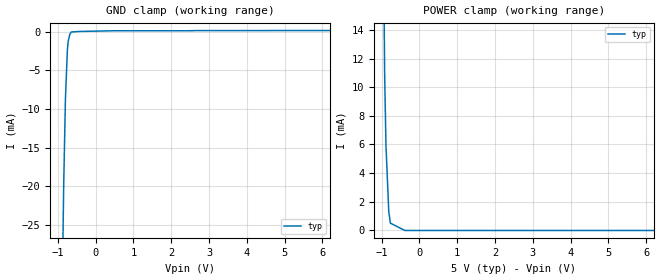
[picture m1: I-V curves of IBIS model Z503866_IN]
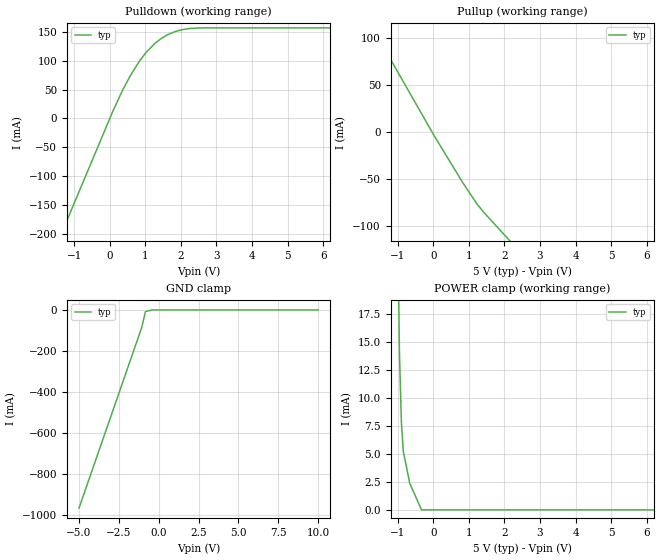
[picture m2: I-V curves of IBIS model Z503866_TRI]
| YOU ARE ONLY AUTHORIZED TO USE THIS SOFTWARE
| ACCORDING TO LICENSOR'S LICENSE RESTRICTIONS.
[IBIS Ver] 3.1
[File Name] mc74act534n.ibs
[File Rev] 2.0
[Source] Measured and created by ICX Technology
[Date] Friday 7/14/00 9:08:02 AM
[Copyright]
| (C) COPYRIGHT 1993-2000
| MENTOR GRAPHICS CORPORATION
| ICX STANDARD LIBRARY, ICX PROJECT MODELING,
| ICX CUSTOM MODELING, ICX VENDOR MODEL
| ALL RIGHTS RESERVED.
| THE FOLLOWING ARE TRADEMARKS OR SERVICE MARKS OF
| MENTOR GRAPHICS CORPORATION:ICX (R), ICX STANDARD
| LIBRARY(R), ICX PROJECT MODELING(R), ICX CUSTOM
| MODELING(R), qualityIBIS(TM), MODELVIEWER(TM),
| AND MODELEDITOR(TM)
| ALL COPIES OF SOFTWARE, INCLUDING BUT NOT LIMITED TO
| ANY MODIFICATIONS, ENHANCEMENTS OR DERIVATIVE WORKS,
| MUST CONTAIN ALL MENTOR GRAPHICS CORPORATION'S
| NOTICES AND LEGENDS, INCLUDING THOSE EMBEDDED IN
| SOFTWARE AND THOSE AFFIXED TO SOFTWARE MEDIUM
| AND CONTAINER, AS RECEIVED FROM MENTOR GRAPHICS
| CORPORATION.
|  ZAP Model Builder 2.7
[Component] MC74ACT534N
[Manufacturer] OnSemiconductor
[Package]
| variable   typ   min   max
R_pkg  .216ohms NA NA
L_pkg  5.76nH NA NA
C_pkg  1.29pF NA NA
[Pin] signal_name  model_name  R_pin  L_pin C_pin
1 _OE Z503866_IN .232 9.76n 1.87p
2 _Q0 Z503866_TRI .224 7.26n 1.58p
3 D0 Z503866_IN .216 5.26n 1.29p
4 D1 Z503866_IN .208 3.76n 1.0p
5 _Q1 Z503866_TRI .2 2.76n .71p
6 _Q2 Z503866_TRI .2 2.76n .71p
7 D2 Z503866_IN .208 3.76n 1.0p
8 D3 Z503866_IN .216 5.26n 1.29p
9 _Q3 Z503866_TRI .224 7.26n 1.58p
10 GND GND .232 9.76n 1.87p
11 CLK Z503866_IN .232 9.76n 1.87p
12 _Q4 Z503866_TRI .224 7.26n 1.58p
13 D4 Z503866_IN .216 5.26n 1.29p
14 D5 Z503866_IN .208 3.76n 1.0p
15 _Q5 Z503866_TRI .2 2.76n .71p
16 _Q6 Z503866_TRI .2 2.76n .71p
17 D6 Z503866_IN .208 3.76n 1.0p
18 D7 Z503866_IN .216 5.26n 1.29p
19 _Q7 Z503866_TRI .224 7.26n 1.58p
20 VCC POWER .232 9.76n 1.87p
| Models and submodels in the file (2): Z503866_IN (Input), Z503866_TRI (3-state)
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| (C) COPYRIGHT 1993-2000
| MENTOR GRAPHICS CORPORATION
| ICX STANDARD LIBRARY, ICX PROJECT MODELING,
| ICX CUSTOM MODELING, ICX VENDOR MODEL
| ALL RIGHTS RESERVED.
| THE FOLLOWING ARE TRADEMARKS OR SERVICE MARKS OF
| MENTOR GRAPHICS CORPORATION:ICX (R), ICX STANDARD
| LIBRARY(R), ICX PROJECT MODELING(R), ICX CUSTOM
| MODELING(R), qualityIBIS(TM), MODELVIEWER(TM),
| AND MODELEDITOR(TM)
| ALL COPIES OF SOFTWARE, INCLUDING BUT NOT LIMITED TO
| ANY MODIFICATIONS, ENHANCEMENTS OR DERIVATIVE WORKS,
| MUST CONTAIN ALL MENTOR GRAPHICS CORPORATION'S
| NOTICES AND LEGENDS, INCLUDING THOSE EMBEDDED IN
| SOFTWARE AND THOSE AFFIXED TO SOFTWARE MEDIUM
| AND CONTAINER, AS RECEIVED FROM MENTOR GRAPHICS
| CORPORATION.
| Model Application Version 1.89 2/18/99.
[Model] Z503866_IN
Model_type Input
Vinl = 800.0mV
Vinh = 2.000V
C_comp 4.000pF NA NA
| variable typ   min   max
[Voltage Range] 5.000V NA NA
[GND Clamp Reference] 0.000V NA NA
[POWER Clamp Reference] 5.000V NA NA
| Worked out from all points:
|   GND clamp passes 1 mA (typ) near -0.71 V on its own axis
|   POWER clamp passes 1 mA (typ) near -0.79 V on its own axis
[GND Clamp]
-5V       -3.058A    NA         NA
-1.004V   -75.91mA   NA         NA
-844.7mV  -19.81mA   NA         NA
-799.2mV  -8.715mA   NA         NA
-747.1mV  -2.324mA   NA         NA
-727.9mV  -1.306mA   NA         NA
-684.7mV  -347uA     NA         NA
-645.1mV  -32.61uA   NA         NA
487.9mV   128.3uA    NA         NA
10V       157.1uA    NA         NA
[POWER Clamp]
-5V       2.45A      NA         NA
-1.132V   92.37mA    NA         NA
-1.025V   42.13mA    NA         NA
-918mV    10.73mA    NA         NA
-884mV    5.944mA    NA         NA
-810mV    1.318mA    NA         NA
-767mV    509uA      NA         NA
-383.5mV  0A         NA         NA
10V       0A         NA         NA
| (C) COPYRIGHT 1993-2000
| MENTOR GRAPHICS CORPORATION
| ICX STANDARD LIBRARY, ICX PROJECT MODELING,
| ICX CUSTOM MODELING, ICX VENDOR MODEL
| ALL RIGHTS RESERVED.
| THE FOLLOWING ARE TRADEMARKS OR SERVICE MARKS OF
| MENTOR GRAPHICS CORPORATION:ICX (R), ICX STANDARD
| LIBRARY(R), ICX PROJECT MODELING(R), ICX CUSTOM
| MODELING(R), qualityIBIS(TM), MODELVIEWER(TM),
| AND MODELEDITOR(TM)
| ALL COPIES OF SOFTWARE, INCLUDING BUT NOT LIMITED TO
| ANY MODIFICATIONS, ENHANCEMENTS OR DERIVATIVE WORKS,
| MUST CONTAIN ALL MENTOR GRAPHICS CORPORATION'S
| NOTICES AND LEGENDS, INCLUDING THOSE EMBEDDED IN
| SOFTWARE AND THOSE AFFIXED TO SOFTWARE MEDIUM
| AND CONTAINER, AS RECEIVED FROM MENTOR GRAPHICS
| CORPORATION.
| Model Application Version 1.89 2/18/99.
[Model] Z503866_TRI
Model_type 3-state
Vref=0.000V
Rref=500.0ohms
Cref=50.00pF
Vmeas=1.500V
C_comp 8.000pF NA NA
| variable typ   min   max
[Voltage Range] 5.000V NA NA
[POWER Clamp Reference] 5.000V NA NA
[Pullup Reference] 5.000V NA NA
[Pulldown Reference] 0.000V NA NA
[GND Clamp Reference] 0.000V NA NA
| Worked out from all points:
|   slope of the pulldown table from 0 to 0.75 V, typ, clamps not added: 8.24 ohm
|   slope of the pullup table from 0 to 0.75 V, typ, clamps not added: 16.1 ohm
[GND Clamp]
-5V       -967.7mA   NA         NA
-1.079V   -88.34mA   NA         NA
-830mV    -7.943mA   NA         NA
-415mV    0A         NA         NA
10V       0A         NA         NA
[Pulldown]
-5V       -731.2mA   NA         NA
92.77mV   13.36mA    NA         NA
356.5mV   48.15mA    NA         NA
569mV     72.89mA    NA         NA
836.2mV   99.32mA    NA         NA
1.021V    114.1mA    NA         NA
1.285V    130.5mA    NA         NA
1.456V    138.5mA    NA         NA
1.821V    149.8mA    NA         NA
2.035V    153.4mA    NA         NA
2.476V    156.4mA    NA         NA
10V       156.6mA    NA         NA
[Pullup]
-5V       328.6mA    NA         NA
39mV      -4.789mA   NA         NA
825mV     -53.51mA   NA         NA
1.22V     -76.02mA   NA         NA
1.429V    -85.67mA   NA         NA
10V       -439.5mA   NA         NA
[POWER Clamp]
-5V       2.453A     NA         NA
-1.181V   79.97mA    NA         NA
-1.089V   44.96mA    NA         NA
-951mV    13.89mA    NA         NA
-898mV    7.886mA    NA         NA
-845mV    5.253mA    NA         NA
-663mV    2.374mA    NA         NA
-331.5mV  0A         NA         NA
10V       0A         NA         NA
[Ramp]
| variable typ min max
dV/dt_r 2.928/585.5p NA NA
dV/dt_f 2.928/628.8p NA NA
R_load = 500.0Ohms
